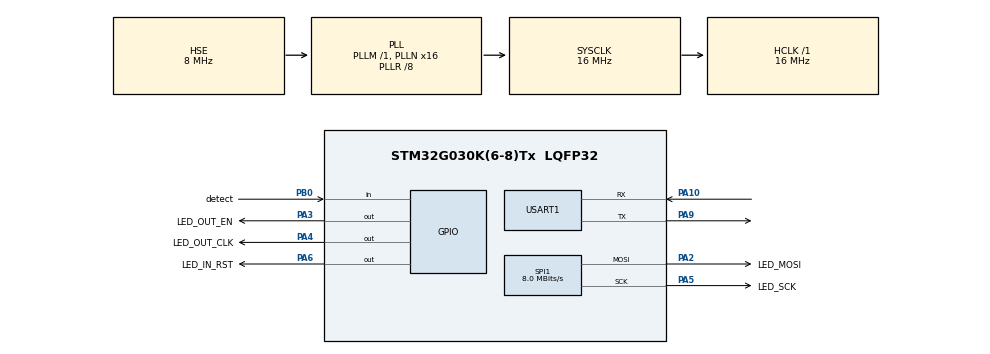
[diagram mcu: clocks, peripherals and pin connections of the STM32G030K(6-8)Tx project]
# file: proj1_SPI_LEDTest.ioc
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Mcu.Family=STM32G0
Mcu.Name=STM32G030K(6-8)Tx
Mcu.Package=LQFP32
NVIC.TIM1_BRK_UP_TRG_COM_IRQn=true\:0\:0\:false\:false\:true\:true\:true\:true
PA10.Mode=Asynchronous
PA10.Signal=USART1_RX
PA2.GPIO_Label=LED_MOSI
PA2.Mode=TX_Only_Simplex_Unidirect_Master
PA2.Signal=SPI1_MOSI
PA3.GPIO_Label=LED_OUT_EN
PA3.Signal=GPIO_Output
PA4.GPIO_Label=LED_OUT_CLK
PA4.Signal=GPIO_Output
PA5.GPIO_Label=LED_SCK
PA5.Mode=TX_Only_Simplex_Unidirect_Master
PA5.Signal=SPI1_SCK
PA6.GPIO_Label=LED_IN_RST
PA6.Signal=GPIO_Output
PA9.Mode=Asynchronous
PA9.Signal=USART1_TX
PB0.GPIO_Label=detect
PB0.Signal=GPIO_Input
PC14-OSC32_IN\ (PC14).Mode=HSE-External-Clock-Source
PC14-OSC32_IN\ (PC14).Signal=RCC_OSC_IN
ProjectManager.HeapSize=0x200
ProjectManager.StackSize=0x400
ProjectManager.TargetToolchain=STM32CubeIDE
RCC.ADCFreq_Value=16000000
RCC.AHBFreq_Value=16000000
RCC.CortexFreq_Value=16000000
RCC.EXTERNAL_CLOCK_VALUE=12288000
RCC.HCLKFreq_Value=16000000
RCC.HSE_VALUE=8000000
RCC.HSI_VALUE=16000000
RCC.LSE_VALUE=32768
RCC.PLLN=16
RCC.PLLR=RCC_PLLR_DIV8
RCC.PLLSourceVirtual=RCC_PLLSOURCE_HSE
RCC.SYSCLKFreq_VALUE=16000000
RCC.SYSCLKSource=RCC_SYSCLKSOURCE_PLLCLK
RCC.VCOOutputFreq_Value=128000000
RTC.Date=8
RTC.Hours=17
RTC.Month=RTC_MONTH_JULY
RTC.Year=24
SPI1.CalculateBaudRate=8.0 MBits/s
SPI1.Direction=SPI_DIRECTION_2LINES
SPI1.Mode=SPI_MODE_MASTER
SPI1.VirtualType=VM_MASTER
TIM1.AutoReloadPreload=TIM_AUTORELOAD_PRELOAD_ENABLE
TIM1.Period=498
TIM1.Prescaler=15
USART1.VirtualMode-Asynchronous=VM_ASYNC
VP_RTC_VS_RTC_Activate.Mode=RTC_Enabled
VP_RTC_VS_RTC_Calendar.Mode=RTC_Calendar
VP_RTC_VS_RTC_WakeUp_intern.Mode=WakeUp
VP_TIM1_VS_ClockSourceINT.Mode=Internal
board=custom

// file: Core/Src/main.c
/* USER CODE BEGIN Header */
/**
  ******************************************************************************
  * @file           : main.c
  * @brief          : Main program body
  ******************************************************************************
  * @attention
  *
  * Copyright (c) 2024 STMicroelectronics.
  * All rights reserved.
  *
  * This software is licensed under terms that can be found in the LICENSE file
  * in the root directory of this software component.
  * If no LICENSE file comes with this software, it is provided AS-IS.
  *
  ******************************************************************************
  */
/* USER CODE END Header */
#include "main.h"

RTC_HandleTypeDef hrtc;

SPI_HandleTypeDef hspi1;

TIM_HandleTypeDef htim1;

UART_HandleTypeDef huart1;

void SystemClock_Config(void);
static void MX_GPIO_Init(void);
static void MX_SPI1_Init(void);
static void MX_RTC_Init(void);
static void MX_USART1_UART_Init(void);
static void MX_TIM1_Init(void);
/* USER CODE BEGIN PFP */
uint8_t flag[6] = {0};
int row[6] = {0};
int counter ;//转完1圈的时间
int atime ;
int now_counter;//现在的时间
int run_counter;
int theta = 0;
int rad = 0;
int newflag = 0;
int newflag2 = 0;
int max_counter = 0;
int cnt;
LED_Color color[16] = {RED,RED};
LED_Color close[16] = {1,0,0,0,0,0,0,0,0,0,0,0,0,0,0,0};
void LED_Init()
{
  HAL_GPIO_WritePin(LED_IN_RST_GPIO_Port,LED_IN_RST_Pin,GPIO_PIN_SET);
  HAL_GPIO_WritePin(LED_OUT_EN_GPIO_Port,LED_OUT_EN_Pin,GPIO_PIN_RESET);
}

void Input_Fix(GPIO_PinState * Input_Data)
{
  for (int i=7;i<=47;i=i+8) {
    for (int j=0;j<=2;j++) {
      GPIO_PinState temp=Input_Data[j+i-7];
      Input_Data[j+i-7]=Input_Data[i-1-j];
      Input_Data[i-1-j]=temp;
    }
  }
}

void Generate_Bytes(uint8_t * Input_Bits,uint8_t* Bytes)
{
  for (int byte_index=0;byte_index<6;byte_index++) {
    for (int i = 0;i < 8;i++) {
      switch(Input_Bits[byte_index*8+i]) {
      case 0:{

        break;
      }
      case 1:{
        Bytes[byte_index]|=(1<<(7-i));
        break;
      }
      }
    }
  }
}

void LED_Display_6Byte_SPI(GPIO_PinState * Input_Data) {
  Input_Fix(Input_Data);
  uint8_t Input_Byte[6]={0};
  Generate_Bytes(Input_Data,Input_Byte);

  HAL_GPIO_WritePin(LED_OUT_CLK_GPIO_Port,LED_OUT_CLK_Pin,GPIO_PIN_RESET);
  HAL_SPI_Transmit(&hspi1,Input_Byte, 6, 1);
  HAL_GPIO_WritePin(LED_OUT_CLK_GPIO_Port,LED_OUT_CLK_Pin,GPIO_PIN_SET);
}

//void LED_Display_6Byte_GPIO(GPIO_PinState * Input_Data) {
//  Input_Fix(Input_Data);
//  HAL_GPIO_WritePin(LED_OUT_CLK_GPIO_Port,LED_OUT_CLK_Pin,GPIO_PIN_RESET);
//  for (int i=0;i < 48;i++) {
//    HAL_GPIO_WritePin(LED_DATA_IN_GPIO_Port,LED_DATA_IN_Pin,Input_Data[i]);
//    HAL_GPIO_WritePin(LED_IN_CLK_GPIO_Port,LED_IN_CLK_Pin,GPIO_PIN_SET);
//    HAL_Delay(0);
//    HAL_GPIO_WritePin(LED_IN_CLK_GPIO_Port,LED_IN_CLK_Pin,GPIO_PIN_RESET);
//    HAL_Delay(0);
//  }
//  HAL_GPIO_WritePin(LED_OUT_CLK_GPIO_Port,LED_OUT_CLK_Pin,GPIO_PIN_SET);
//}

void LED_Display_Color(LED_Color * Color_Input) {
  uint8_t Color_Bytes[48]={1};
  int color_index=0,byte_index=47;
  while(color_index<16) {
    switch(Color_Input[color_index]){
    case BLACK:{
      Color_Bytes[byte_index]=GPIO_PIN_SET;
      Color_Bytes[byte_index-1]=GPIO_PIN_SET;
      Color_Bytes[byte_index-2]=GPIO_PIN_SET;
      break;
    }
    case RED:{
      Color_Bytes[byte_index]=GPIO_PIN_SET;
      Color_Bytes[byte_index-1]=GPIO_PIN_SET;
      Color_Bytes[byte_index-2]=GPIO_PIN_RESET;
      break;
    }
    case GREEN:{
      Color_Bytes[byte_index]=GPIO_PIN_SET;
      Color_Bytes[byte_index-1]=GPIO_PIN_RESET;
      Color_Bytes[byte_index-2]=GPIO_PIN_SET;
      break;
    }
    case BLUE:{
      Color_Bytes[byte_index]=GPIO_PIN_RESET;
      Color_Bytes[byte_index-1]=GPIO_PIN_SET;
      Color_Bytes[byte_index-2]=GPIO_PIN_SET;
      break;
    }
    case YELLOW:{
      Color_Bytes[byte_index]=GPIO_PIN_SET;
      Color_Bytes[byte_index-1]=GPIO_PIN_RESET;
      Color_Bytes[byte_index-2]=GPIO_PIN_RESET;
      break;
    }
    case PINK:{
      Color_Bytes[byte_index]=GPIO_PIN_RESET;
      Color_Bytes[byte_index-1]=GPIO_PIN_SET;
      Color_Bytes[byte_index-2]=GPIO_PIN_RESET;
      break;
    }
    case CYAN:{
      Color_Bytes[byte_index]=GPIO_PIN_RESET;
      Color_Bytes[byte_index-1]=GPIO_PIN_RESET;
      Color_Bytes[byte_index-2]=GPIO_PIN_SET;
      break;
    }
    case WHITE:{
      Color_Bytes[byte_index]=GPIO_PIN_RESET;
      Color_Bytes[byte_index-1]=GPIO_PIN_RESET;
      Color_Bytes[byte_index-2]=GPIO_PIN_RESET;
      break;
    }
    }
    color_index++;
    byte_index-=3;
  }
  LED_Display_6Byte_SPI(Color_Bytes);
}
void caculate_rad(int counter)
{
	rad = 360 / (counter);
}
void caculate_theta(void)
{
	theta = now_counter * rad;
}

/* USER CODE END PFP */

int main(void)
{

  /* MCU Configuration--------------------------------------------------------*/

  /* Reset of all peripherals, Initializes the Flash interface and the Systick. */
  HAL_Init();

  /* Configure the system clock */
  SystemClock_Config();

  /* Initialize all configured peripherals */
  MX_GPIO_Init();
  MX_SPI1_Init();
  MX_RTC_Init();
  MX_USART1_UART_Init();
  MX_TIM1_Init();
  /* USER CODE BEGIN 2 */
  LED_Init();
  HAL_TIM_Base_Start_IT(&htim1);

  LED_Color color[16]={PINK,PINK,PINK,PINK,PINK,PINK,PINK,PINK,PINK,PINK,PINK,PINK,PINK,PINK,PINK,PINK};
  LED_Color red[16] = {1,1,1,1,1,1};
  RTC_TimeTypeDef * time;
//LED_Display_Color(red);
  /* USER CODE END 2 */

  /* Infinite loop */
  /* USER CODE BEGIN WHILE */
  static int prev = 0;

  while (1)
  {
    /* USER CODE END WHILE */

    /* USER CODE BEGIN 3 */
	// HAL_RTC_GetTime(&hrtc, time, RTC_FORMAT_BIN);

	int curr = (HAL_GPIO_ReadPin(detect_GPIO_Port, detect_Pin));
	if (prev == 1 && curr == 0)
	{
		cnt ++;
		newflag = 1;
		counter = now_counter;
		now_counter = 0;
		newflag2 = 1;
//		if (now_counter > 1)
//		{
//			counter = now_counter;
//			caculate_rad(counter);
//			now_counter = 0;
//			for(int i = 0;i < 6;i++)
//			{
//				flag[i] = 0;
//				row[i] = 0;
//			}
//		}
	}
	prev = curr;
  }
  if(cnt >= 60000) cnt = 1001;
  /* USER CODE END 3 */
}

void SystemClock_Config(void)
{
  RCC_OscInitTypeDef RCC_OscInitStruct = {0};
  RCC_ClkInitTypeDef RCC_ClkInitStruct = {0};

  /** Configure the main internal regulator output voltage
  */
  HAL_PWREx_ControlVoltageScaling(PWR_REGULATOR_VOLTAGE_SCALE1);

  /** Initializes the RCC Oscillators according to the specified parameters
  * in the RCC_OscInitTypeDef structure.
  */
  RCC_OscInitStruct.OscillatorType = RCC_OSCILLATORTYPE_LSI|RCC_OSCILLATORTYPE_HSE;
  RCC_OscInitStruct.HSEState = RCC_HSE_BYPASS;
  RCC_OscInitStruct.LSIState = RCC_LSI_ON;
  RCC_OscInitStruct.PLL.PLLState = RCC_PLL_ON;
  RCC_OscInitStruct.PLL.PLLSource = RCC_PLLSOURCE_HSE;
  RCC_OscInitStruct.PLL.PLLM = RCC_PLLM_DIV1;
  RCC_OscInitStruct.PLL.PLLN = 16;
  RCC_OscInitStruct.PLL.PLLP = RCC_PLLP_DIV2;
  RCC_OscInitStruct.PLL.PLLR = RCC_PLLR_DIV8;
  if (HAL_RCC_OscConfig(&RCC_OscInitStruct) != HAL_OK)
  {
    Error_Handler();
  }

  /** Initializes the CPU, AHB and APB buses clocks
  */
  RCC_ClkInitStruct.ClockType = RCC_CLOCKTYPE_HCLK|RCC_CLOCKTYPE_SYSCLK
                              |RCC_CLOCKTYPE_PCLK1;
  RCC_ClkInitStruct.SYSCLKSource = RCC_SYSCLKSOURCE_PLLCLK;
  RCC_ClkInitStruct.AHBCLKDivider = RCC_SYSCLK_DIV1;
  RCC_ClkInitStruct.APB1CLKDivider = RCC_HCLK_DIV1;

  if (HAL_RCC_ClockConfig(&RCC_ClkInitStruct, FLASH_LATENCY_0) != HAL_OK)
  {
    Error_Handler();
  }
}

static void MX_RTC_Init(void)
{

  RTC_TimeTypeDef sTime = {0};
  RTC_DateTypeDef sDate = {0};

  /** Initialize RTC Only
  */
  hrtc.Instance = RTC;
  hrtc.Init.HourFormat = RTC_HOURFORMAT_24;
  hrtc.Init.AsynchPrediv = 127;
  hrtc.Init.SynchPrediv = 255;
  hrtc.Init.OutPut = RTC_OUTPUT_DISABLE;
  hrtc.Init.OutPutRemap = RTC_OUTPUT_REMAP_NONE;
  hrtc.Init.OutPutPolarity = RTC_OUTPUT_POLARITY_HIGH;
  hrtc.Init.OutPutType = RTC_OUTPUT_TYPE_OPENDRAIN;
  hrtc.Init.OutPutPullUp = RTC_OUTPUT_PULLUP_NONE;
  if (HAL_RTC_Init(&hrtc) != HAL_OK)
  {
    Error_Handler();
  }

  /** Initialize RTC and set the Time and Date
  */
  sTime.Hours = 0x17;
  sTime.Minutes = 0x0;
  sTime.Seconds = 0x0;
  sTime.SubSeconds = 0x0;
  sTime.DayLightSaving = RTC_DAYLIGHTSAVING_NONE;
  sTime.StoreOperation = RTC_STOREOPERATION_RESET;
  if (HAL_RTC_SetTime(&hrtc, &sTime, RTC_FORMAT_BCD) != HAL_OK)
  {
    Error_Handler();
  }
  sDate.WeekDay = RTC_WEEKDAY_MONDAY;
  sDate.Month = RTC_MONTH_JULY;
  sDate.Date = 0x8;
  sDate.Year = 0x24;

  if (HAL_RTC_SetDate(&hrtc, &sDate, RTC_FORMAT_BCD) != HAL_OK)
  {
    Error_Handler();
  }

  /** Enable the WakeUp
  */
  if (HAL_RTCEx_SetWakeUpTimer(&hrtc, 0, RTC_WAKEUPCLOCK_RTCCLK_DIV16) != HAL_OK)
  {
    Error_Handler();
  }

}

static void MX_SPI1_Init(void)
{

  /* SPI1 parameter configuration*/
  hspi1.Instance = SPI1;
  hspi1.Init.Mode = SPI_MODE_MASTER;
  hspi1.Init.Direction = SPI_DIRECTION_2LINES;
  hspi1.Init.DataSize = SPI_DATASIZE_8BIT;
  hspi1.Init.CLKPolarity = SPI_POLARITY_LOW;
  hspi1.Init.CLKPhase = SPI_PHASE_1EDGE;
  hspi1.Init.NSS = SPI_NSS_SOFT;
  hspi1.Init.BaudRatePrescaler = SPI_BAUDRATEPRESCALER_2;
  hspi1.Init.FirstBit = SPI_FIRSTBIT_MSB;
  hspi1.Init.TIMode = SPI_TIMODE_DISABLE;
  hspi1.Init.CRCCalculation = SPI_CRCCALCULATION_DISABLE;
  hspi1.Init.CRCPolynomial = 7;
  hspi1.Init.CRCLength = SPI_CRC_LENGTH_DATASIZE;
  hspi1.Init.NSSPMode = SPI_NSS_PULSE_ENABLE;
  if (HAL_SPI_Init(&hspi1) != HAL_OK)
  {
    Error_Handler();
  }

}

static void MX_TIM1_Init(void)
{

  TIM_ClockConfigTypeDef sClockSourceConfig = {0};
  TIM_MasterConfigTypeDef sMasterConfig = {0};

  htim1.Instance = TIM1;
  htim1.Init.Prescaler = 15;
  htim1.Init.CounterMode = TIM_COUNTERMODE_UP;
  htim1.Init.Period = 498;
  htim1.Init.ClockDivision = TIM_CLOCKDIVISION_DIV1;
  htim1.Init.RepetitionCounter = 0;
  htim1.Init.AutoReloadPreload = TIM_AUTORELOAD_PRELOAD_ENABLE;
  if (HAL_TIM_Base_Init(&htim1) != HAL_OK)
  {
    Error_Handler();
  }
  sClockSourceConfig.ClockSource = TIM_CLOCKSOURCE_INTERNAL;
  if (HAL_TIM_ConfigClockSource(&htim1, &sClockSourceConfig) != HAL_OK)
  {
    Error_Handler();
  }
  sMasterConfig.MasterOutputTrigger = TIM_TRGO_RESET;
  sMasterConfig.MasterOutputTrigger2 = TIM_TRGO2_RESET;
  sMasterConfig.MasterSlaveMode = TIM_MASTERSLAVEMODE_DISABLE;
  if (HAL_TIMEx_MasterConfigSynchronization(&htim1, &sMasterConfig) != HAL_OK)
  {
    Error_Handler();
  }

}

static void MX_USART1_UART_Init(void)
{

  huart1.Instance = USART1;
  huart1.Init.BaudRate = 115200;
  huart1.Init.WordLength = UART_WORDLENGTH_8B;
  huart1.Init.StopBits = UART_STOPBITS_1;
  huart1.Init.Parity = UART_PARITY_NONE;
  huart1.Init.Mode = UART_MODE_TX_RX;
  huart1.Init.HwFlowCtl = UART_HWCONTROL_NONE;
  huart1.Init.OverSampling = UART_OVERSAMPLING_16;
  huart1.Init.OneBitSampling = UART_ONE_BIT_SAMPLE_DISABLE;
  huart1.Init.ClockPrescaler = UART_PRESCALER_DIV1;
  huart1.AdvancedInit.AdvFeatureInit = UART_ADVFEATURE_NO_INIT;
  if (HAL_UART_Init(&huart1) != HAL_OK)
  {
    Error_Handler();
  }
  if (HAL_UARTEx_SetTxFifoThreshold(&huart1, UART_TXFIFO_THRESHOLD_1_8) != HAL_OK)
  {
    Error_Handler();
  }
  if (HAL_UARTEx_SetRxFifoThreshold(&huart1, UART_RXFIFO_THRESHOLD_1_8) != HAL_OK)
  {
    Error_Handler();
  }
  if (HAL_UARTEx_DisableFifoMode(&huart1) != HAL_OK)
  {
    Error_Handler();
  }

}

static void MX_GPIO_Init(void)
{
  GPIO_InitTypeDef GPIO_InitStruct = {0};

  /* GPIO Ports Clock Enable */
  __HAL_RCC_GPIOC_CLK_ENABLE();
  __HAL_RCC_GPIOA_CLK_ENABLE();
  __HAL_RCC_GPIOB_CLK_ENABLE();

  /*Configure GPIO pin Output Level */
  HAL_GPIO_WritePin(GPIOA, LED_OUT_EN_Pin|LED_OUT_CLK_Pin|LED_IN_RST_Pin, GPIO_PIN_RESET);

  /*Configure GPIO pins : LED_OUT_EN_Pin LED_OUT_CLK_Pin LED_IN_RST_Pin */
  GPIO_InitStruct.Pin = LED_OUT_EN_Pin|LED_OUT_CLK_Pin|LED_IN_RST_Pin;
  GPIO_InitStruct.Mode = GPIO_MODE_OUTPUT_PP;
  GPIO_InitStruct.Pull = GPIO_NOPULL;
  GPIO_InitStruct.Speed = GPIO_SPEED_FREQ_LOW;
  HAL_GPIO_Init(GPIOA, &GPIO_InitStruct);

  /*Configure GPIO pin : detect_Pin */
  GPIO_InitStruct.Pin = detect_Pin;
  GPIO_InitStruct.Mode = GPIO_MODE_INPUT;
  GPIO_InitStruct.Pull = GPIO_NOPULL;
  HAL_GPIO_Init(detect_GPIO_Port, &GPIO_InitStruct);

}

void Error_Handler(void)
{
  __disable_irq();
  while (1)
  {
  }
}
